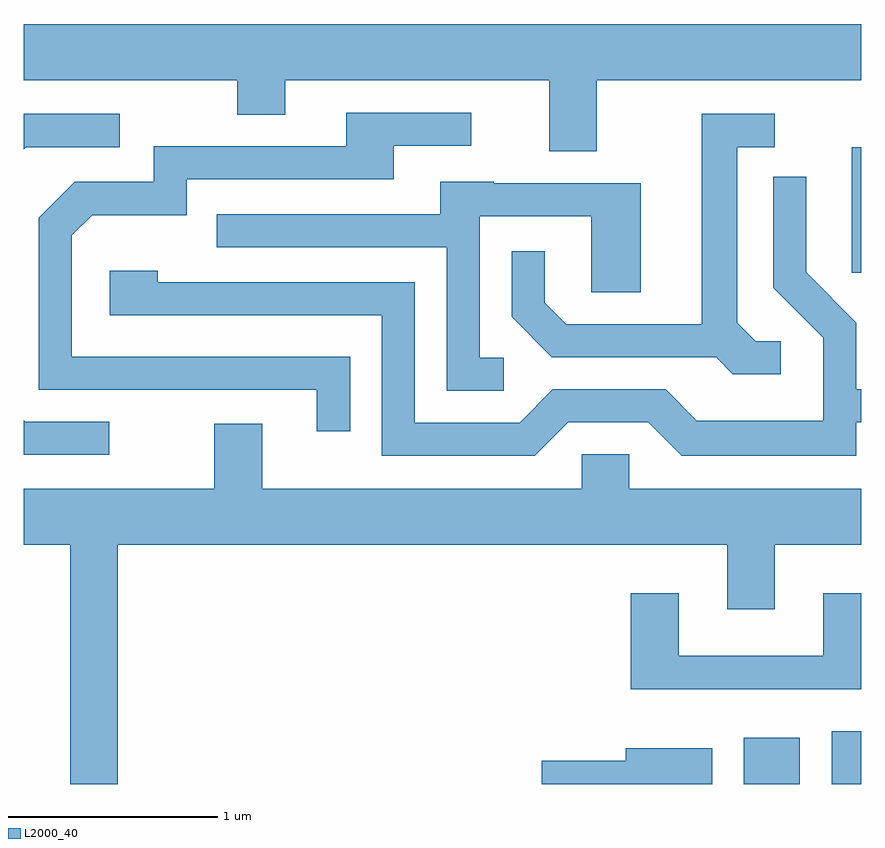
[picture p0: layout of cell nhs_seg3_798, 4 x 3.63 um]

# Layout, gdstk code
import gdstk
lib = gdstk.Library(unit=1e-6, precision=1e-09)
def R(c, l, rs):  # rectangles x0, y0, x1, y1
    for r in rs: c.add(gdstk.rectangle(r[:2], r[2:], *l))
def P(c, l, *ps):  # polygons
    for p in ps: c.add(gdstk.Polygon(p, *l))
L2000_40 = (2000, 40)

nhs_seg3_798 = lib.new_cell('nhs_seg3_798')
R(nhs_seg3_798, L2000_40, [(211.051,1215.892,211.319,1216.114), (211.471,1215.892,211.611,1216.144), (211.566,1218.336,211.611,1218.934)])
P(nhs_seg3_798, L2000_40, [(210.349,1219.256),(211.611,1219.256),(211.611,1219.524),(207.611,1219.524),(207.611,1219.256),(208.631,1219.256),(208.631,1219.091),(208.859,1219.091),(208.859,1219.256),(210.121,1219.256),(210.121,1218.916),(210.349,1218.916)],
  [(209.169,1217.934),(207.839,1217.934),(207.839,1218.514),(207.937,1218.611),(208.389,1218.611),(208.389,1218.781),(209.379,1218.781),(209.379,1218.941),(209.748,1218.941),(209.748,1219.099),(209.151,1219.099),(209.151,1218.939),(208.231,1218.939),(208.231,1218.769),(207.854,1218.769),(207.681,1218.597),(207.681,1217.776),(209.011,1217.776),(209.011,1217.578),(209.169,1217.578)],
  [(207.622,1218.936),(208.068,1218.936),(208.068,1219.094),(207.611,1219.094),(207.611,1218.925)],
  [(211.228,1218.009),(211.107,1218.009),(211.019,1218.097),(211.019,1218.936),(211.198,1218.936),(211.198,1219.094),(210.851,1219.094),(210.851,1218.089),(210.202,1218.089),(210.099,1218.192),(210.099,1218.438),(209.941,1218.438),(209.941,1218.124),(210.134,1217.931),(210.919,1217.931),(210.999,1217.851),(211.228,1217.851)],
  [(210.212,1217.621),(210.594,1217.621),(210.754,1217.461),(211.589,1217.461),(211.589,1217.621),(211.611,1217.621),(211.611,1217.779),(211.589,1217.779),(211.589,1218.097),(211.349,1218.337),(211.349,1218.793),(211.191,1218.793),(211.191,1218.264),(211.431,1218.024),(211.431,1217.629),(210.827,1217.629),(210.677,1217.779),(210.139,1217.779),(209.979,1217.619),(209.479,1217.619),(209.479,1218.289),(208.249,1218.289),(208.249,1218.344),(208.021,1218.344),(208.021,1218.131),(209.321,1218.131),(209.321,1217.461),(210.052,1217.461)],
  [(209.903,1217.929),(209.789,1217.929),(209.789,1218.606),(210.321,1218.606),(210.321,1218.241),(210.559,1218.241),(210.559,1218.764),(209.855,1218.764),(209.855,1218.769),(209.601,1218.769),(209.601,1218.614),(208.533,1218.614),(208.533,1218.456),(209.631,1218.456),(209.631,1217.771),(209.903,1217.771)],
  [(208.018,1217.624),(207.617,1217.624),(207.611,1217.63),(207.611,1217.466),(208.018,1217.466)],
  [(208.059,1217.036),(210.971,1217.036),(210.971,1216.726),(211.199,1216.726),(211.199,1217.036),(211.611,1217.036),(211.611,1217.304),(210.504,1217.304),(210.504,1217.469),(210.276,1217.469),(210.276,1217.304),(208.749,1217.304),(208.749,1217.614),(208.521,1217.614),(208.521,1217.304),(207.611,1217.304),(207.611,1217.036),(207.831,1217.036),(207.831,1215.892),(208.059,1215.892)],
  [(211.611,1216.804),(211.431,1216.804),(211.431,1216.504),(210.739,1216.504),(210.739,1216.804),(210.511,1216.804),(210.511,1216.346),(211.611,1216.346)],
  [(210.899,1216.064),(210.486,1216.064),(210.486,1216.004),(210.086,1216.004),(210.086,1215.892),(210.899,1215.892)])

lib.write_gds('nhs_seg3_798.gds')
